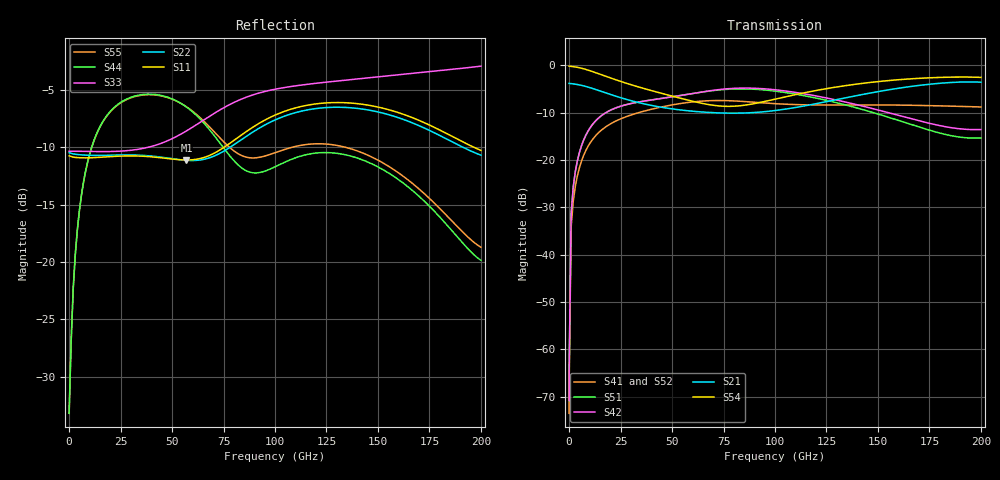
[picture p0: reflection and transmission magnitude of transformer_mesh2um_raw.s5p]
#  GHZ S DB R 50.0
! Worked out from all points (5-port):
!   202 points, 10 MHz to 200 GHz, reference 50 ohm
!   strongest paths, dB at 10 MHz, 49 GHz, 100 GHz, 150 GHz, 200 GHz:
!     S54: -0.2, -6.4, -7.2, -3.5, -2.6
!     S21: -3.8, -9.2, -9.6, -5.6, -3.6
!     S42: -70.8, -6.7, -5.2, -9.4, -13.6
!     S51: -70.9, -6.7, -5.5, -10.3, -15.4
!     S41: -73.5, -8.5, -8.1, -8.4, -8.8
!     S52: -73.5, -8.5, -8.1, -8.5, -9.1
!   lowest |S11| = -11.1 dB at 57 GHz (marker M1), VSWR 1.77, Z = 72.3 + j26.8 ohm
!   |S11| at or under -10 dB: start of sweep to 75.17 GHz; 196.7 GHz to end of sweep
